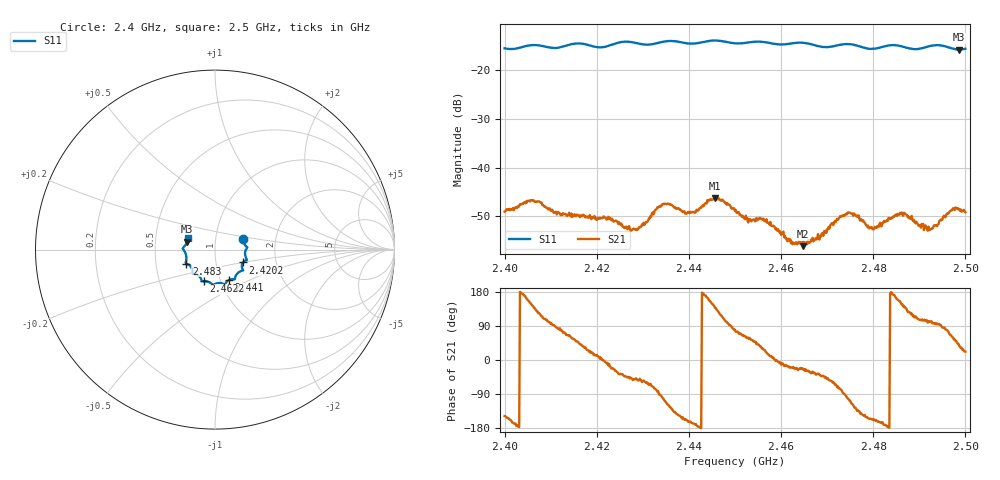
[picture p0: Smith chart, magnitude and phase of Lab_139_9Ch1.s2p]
# Hz S RI R 50
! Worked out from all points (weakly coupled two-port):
!   601 points, 2.4 GHz to 2.5 GHz, reference 50 ohm
!   highest |S21| = -46.29 dB at 2.4457 GHz (marker M1); lowest = -56.1 dB at 2.4647 GHz (marker M2)
!   lowest |S11| = -15.8 dB at 2.4987 GHz (marker M3), VSWR 1.39, Z = 36.4 + j3.32 ohm
!   |S11| at or under -10 dB: start of sweep to end of sweep
!   S12 and S22 are empty: the file has one direction only
!   S11 on the Smith chart (normalised r, x): 2.4 GHz: 1.36, +0.17; 2.4202 GHz: 1.35, -0.20; 2.441 GHz: 1.09, -0.39; 2.4622 GHz: 0.83, -0.30; 2.483 GHz: 0.72, -0.12; 2.5 GHz: 0.73, +0.09
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2.4e9  0.1558 0.0604  -0.003 -0.00188  0 0  0 0
2.405833e9  0.1794 0.014  -0.00386 0.00259  0 0  0 0
2.416667e9  0.1775 -0.0583  0.00242 0.00207  0 0  0 0
2.420167e9  0.1557 -0.0717  0.00303 0.00055  0 0  0 0
2.4285e9  0.1479 -0.1185  0.00157 -0.00176  0 0  0 0
2.433333e9  0.1128 -0.1527  0.00052 -0.00386  0 0  0 0
2.441e9  0.0766 -0.1704  -0.0034 -0.000732  0 0  0 0
2.445667e9  0.053 -0.194  -0.00355 0.0033  0 0  0 0
2.45e9  0.0264 -0.1862  0.000642 0.00353  0 0  0 0
2.453e9  -0.00063 -0.1921  0.0016 0.00235  0 0  0 0
2.456333e9  -0.015 -0.1932  0.00253 0.0013  0 0  0 0
2.462167e9  -0.0634 -0.1762  0.00158 -0.000557  0 0  0 0
2.464667e9  -0.0738 -0.1757  0.00145 -0.000583  0 0  0 0
2.466667e9  -0.0763 -0.1668  0.00157 -0.000983  0 0  0 0
2.4745e9  -0.1254 -0.1358  -0.000694 -0.00339  0 0  0 0
2.4795e9  -0.1327 -0.0977  -0.0022 -0.00101  0 0  0 0
2.483e9  -0.1594 -0.0781  -0.00289 -0.000228  0 0  0 0
2.483333e9  -0.161 -0.0775  -0.00306 -0.000108  0 0  0 0
2.486667e9  -0.1609 -0.0623  -0.00274 0.00209  0 0  0 0
2.492333e9  -0.1767 -0.000463  -0.00042 0.00229  0 0  0 0
2.498667e9  -0.1556 0.0444  0.00297 0.00228  0 0  0 0
2.5e9  -0.1528 0.0631  0.00323 0.00131  0 0  0 0
